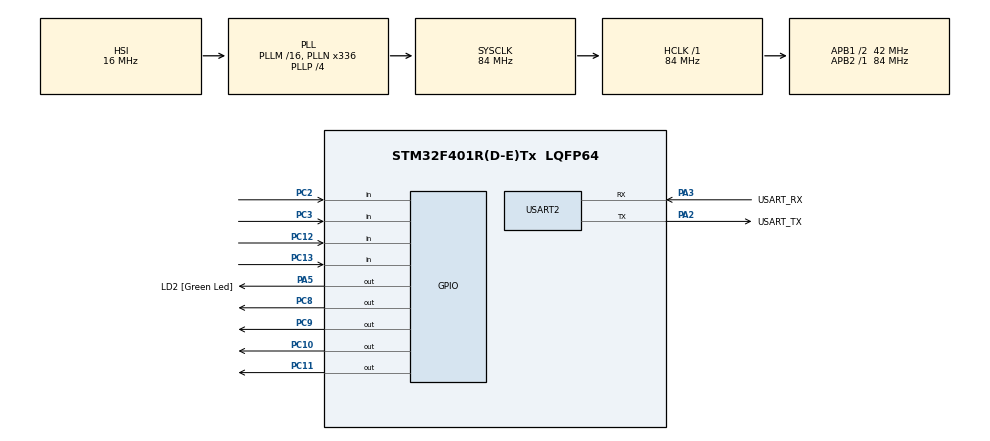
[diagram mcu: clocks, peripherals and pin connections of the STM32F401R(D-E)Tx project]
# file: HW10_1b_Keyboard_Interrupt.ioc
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Mcu.Family=STM32F4
Mcu.Name=STM32F401R(D-E)Tx
Mcu.Package=LQFP64
NVIC.PriorityGroup=NVIC_PRIORITYGROUP_0
NVIC.TIM2_IRQn=true\:0\:0\:false\:false\:true\:true\:true\:true
PA13.GPIO_Label=TMS
PA13.Mode=Serial_Wire
PA13.Signal=SYS_JTMS-SWDIO
PA14.GPIO_Label=TCK
PA14.Mode=Serial_Wire
PA14.Signal=SYS_JTCK-SWCLK
PA2.GPIO_Label=USART_TX
PA2.GPIO_Mode=GPIO_MODE_AF_PP
PA2.GPIO_PuPd=GPIO_NOPULL
PA2.GPIO_Speed=GPIO_SPEED_FREQ_LOW
PA2.Mode=Asynchronous
PA2.Signal=USART2_TX
PA3.GPIO_Label=USART_RX
PA3.GPIO_Mode=GPIO_MODE_AF_PP
PA3.GPIO_PuPd=GPIO_NOPULL
PA3.GPIO_Speed=GPIO_SPEED_FREQ_LOW
PA3.Mode=Asynchronous
PA3.Signal=USART2_RX
PA5.GPIO_Label=LD2 [Green Led]
PA5.GPIO_Mode=GPIO_MODE_OUTPUT_PP
PA5.GPIO_PuPd=GPIO_NOPULL
PA5.GPIO_Speed=GPIO_SPEED_FREQ_LOW
PA5.Signal=GPIO_Output
PB3.GPIO_Label=SWO
PB3.Signal=SYS_JTDO-SWO
PC10.Signal=GPIO_Output
PC11.Signal=GPIO_Output
PC12.Signal=GPIO_Input
PC13-ANTI_TAMP.Signal=GPIO_Input
PC14-OSC32_IN.Mode=LSE-External-Oscillator
PC14-OSC32_IN.Signal=RCC_OSC32_IN
PC15-OSC32_OUT.Mode=LSE-External-Oscillator
PC15-OSC32_OUT.Signal=RCC_OSC32_OUT
PC2.Signal=GPIO_Input
PC3.Signal=GPIO_Input
PC8.Signal=GPIO_Output
PC9.Signal=GPIO_Output
PH0\ -\ OSC_IN.Mode=HSE-External-Clock-Source
PH0\ -\ OSC_IN.Signal=RCC_OSC_IN
PH1\ -\ OSC_OUT.Mode=HSE-External-Clock-Source
PH1\ -\ OSC_OUT.Signal=RCC_OSC_OUT
ProjectManager.HeapSize=0x200
ProjectManager.StackSize=0x400
ProjectManager.TargetToolchain=STM32CubeIDE
RCC.48MHZClocksFreq_Value=48000000
RCC.AHBFreq_Value=84000000
RCC.APB1CLKDivider=RCC_HCLK_DIV2
RCC.APB1Freq_Value=42000000
RCC.APB1TimFreq_Value=84000000
RCC.APB2Freq_Value=84000000
RCC.APB2TimFreq_Value=84000000
RCC.CortexFreq_Value=84000000
RCC.HCLKFreq_Value=84000000
RCC.HSE_VALUE=8000000
RCC.HSI_VALUE=16000000
RCC.PLLN=336
RCC.PLLP=RCC_PLLP_DIV4
RCC.PLLQ=7
RCC.SYSCLKFreq_VALUE=84000000
RCC.SYSCLKSource=RCC_SYSCLKSOURCE_PLLCLK
RCC.VCOOutputFreq_Value=336000000
TIM2.Period=4000
TIM2.Prescaler=84-1
USART2.VirtualMode=VM_ASYNC
VP_TIM2_VS_ClockSourceINT.Mode=Internal
board=NUCLEO-F401RE

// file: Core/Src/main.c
/* USER CODE BEGIN Header */
/**
  ******************************************************************************
  * @file           : main.c
  * @brief          : Main program body
  ******************************************************************************
  * @attention
  *
  * Copyright (c) 2022 STMicroelectronics.
  * All rights reserved.
  *
  * This software is licensed under terms that can be found in the LICENSE file
  * in the root directory of this software component.
  * If no LICENSE file comes with this software, it is provided AS-IS.
  *
  ******************************************************************************
  */
/* USER CODE END Header */
#include "main.h"

/* USER CODE BEGIN PD */

#define DEBOUNCE_TIME 1

/* USER CODE END PD */

TIM_HandleTypeDef htim2;

UART_HandleTypeDef huart2;

void SystemClock_Config(void);
static void MX_GPIO_Init(void);
static void MX_USART2_UART_Init(void);
static void MX_TIM2_Init(void);

/* USER CODE BEGIN 0 */

//maps each key to his character
uint8_t keyboard_values[4][4] = {{0,1,2,3},{4,5,6,7},{8,9,10,11},{12,13,14,15}};

//Memorize all the used output pins: outputArray[0] = column0...
uint16_t outputArray[4] = {GPIO_PIN_8,GPIO_PIN_9,GPIO_PIN_10,GPIO_PIN_11};

//Memorize all used input pins: inputArray[0] = row0...
uint16_t inputArray[4] = {GPIO_PIN_12,GPIO_PIN_13,GPIO_PIN_2, GPIO_PIN_3};

uint32_t keypress[4][4];
uint32_t keypress_old[4][4];

//Memorize the debounce time for every button (1 by default)
uint16_t debounce_time[4][4];

int column;

//used for transmission
int len = 0;
char str[32];

//every 4 ms read a column
//if a new value is read and the debounce time has expired ( 4*4 ms in our case) send the character
void HAL_TIM_PeriodElapsedCallback(TIM_HandleTypeDef *htim){
	if(htim == &htim2){

		for(int row = 0; row < 4; row ++){
			if(debounce_time[row][column] == 0){
				//if the debounce time for this button has ended
				//read and store the state of the button: 1->pressed, 0-> not pressed
				if(HAL_GPIO_ReadPin(GPIOC, inputArray[row]) == SET)
					keypress[row][column] = 0;
				else
					keypress[row][column] = 1;

				//if the state of the button has changed from the previous one
				if(keypress[row][column] != keypress_old[row][column]){

					//if the button toggled from 0 to 1 then transmit the character
					if(keypress[row][column] == 1){
						  len = snprintf(str, sizeof(str), "Button pressed: %x \r\n", keyboard_values[row][column]);
						  HAL_UART_Transmit(&huart2, str, len, 50);
					}

					//update the old keypress
					keypress_old[row][column] = keypress[row][column];

					//reset debounce for the updated button
					debounce_time[row][column] = DEBOUNCE_TIME;
				}
			}
			else{
				//decrease debounce time
				debounce_time[row][column]--;
			}
		}

		//turn off the column
		HAL_GPIO_WritePin(GPIOC, outputArray[column],RESET);

		//update the column
		if(column == 3)
			column = 0;
		else
			column++;

		//turn on the new column
		HAL_GPIO_WritePin(GPIOC, outputArray[column],SET);
	}
}

/* USER CODE END 0 */

int main(void)
{

  /* MCU Configuration--------------------------------------------------------*/

  /* Reset of all peripherals, Initializes the Flash interface and the Systick. */
  HAL_Init();

  /* Configure the system clock */
  SystemClock_Config();

  /* Initialize all configured peripherals */
  MX_GPIO_Init();
  MX_USART2_UART_Init();
  MX_TIM2_Init();
  /* USER CODE BEGIN 2 */

  //turn on the first column and off the others
  HAL_GPIO_WritePin(GPIOC, outputArray[0], SET);
  HAL_GPIO_WritePin(GPIOC, outputArray[1], RESET);
  HAL_GPIO_WritePin(GPIOC, outputArray[2], RESET);
  HAL_GPIO_WritePin(GPIOC, outputArray[3], RESET);

  //start the timer
  HAL_TIM_Base_Start_IT(&htim2);

  /* USER CODE END 2 */

  /* Infinite loop */
  while (1)
  {

  }
}

void SystemClock_Config(void)
{
  RCC_OscInitTypeDef RCC_OscInitStruct = {0};
  RCC_ClkInitTypeDef RCC_ClkInitStruct = {0};

  /** Configure the main internal regulator output voltage
  */
  __HAL_RCC_PWR_CLK_ENABLE();
  __HAL_PWR_VOLTAGESCALING_CONFIG(PWR_REGULATOR_VOLTAGE_SCALE2);

  /** Initializes the RCC Oscillators according to the specified parameters
  * in the RCC_OscInitTypeDef structure.
  */
  RCC_OscInitStruct.OscillatorType = RCC_OSCILLATORTYPE_HSI;
  RCC_OscInitStruct.HSIState = RCC_HSI_ON;
  RCC_OscInitStruct.HSICalibrationValue = RCC_HSICALIBRATION_DEFAULT;
  RCC_OscInitStruct.PLL.PLLState = RCC_PLL_ON;
  RCC_OscInitStruct.PLL.PLLSource = RCC_PLLSOURCE_HSI;
  RCC_OscInitStruct.PLL.PLLM = 16;
  RCC_OscInitStruct.PLL.PLLN = 336;
  RCC_OscInitStruct.PLL.PLLP = RCC_PLLP_DIV4;
  RCC_OscInitStruct.PLL.PLLQ = 7;
  if (HAL_RCC_OscConfig(&RCC_OscInitStruct) != HAL_OK)
  {
    Error_Handler();
  }

  /** Initializes the CPU, AHB and APB buses clocks
  */
  RCC_ClkInitStruct.ClockType = RCC_CLOCKTYPE_HCLK|RCC_CLOCKTYPE_SYSCLK
                              |RCC_CLOCKTYPE_PCLK1|RCC_CLOCKTYPE_PCLK2;
  RCC_ClkInitStruct.SYSCLKSource = RCC_SYSCLKSOURCE_PLLCLK;
  RCC_ClkInitStruct.AHBCLKDivider = RCC_SYSCLK_DIV1;
  RCC_ClkInitStruct.APB1CLKDivider = RCC_HCLK_DIV2;
  RCC_ClkInitStruct.APB2CLKDivider = RCC_HCLK_DIV1;

  if (HAL_RCC_ClockConfig(&RCC_ClkInitStruct, FLASH_LATENCY_2) != HAL_OK)
  {
    Error_Handler();
  }
}

static void MX_TIM2_Init(void)
{

  TIM_ClockConfigTypeDef sClockSourceConfig = {0};
  TIM_MasterConfigTypeDef sMasterConfig = {0};

  htim2.Instance = TIM2;
  htim2.Init.Prescaler = 84-1;
  htim2.Init.CounterMode = TIM_COUNTERMODE_UP;
  htim2.Init.Period = 4000;
  htim2.Init.ClockDivision = TIM_CLOCKDIVISION_DIV1;
  htim2.Init.AutoReloadPreload = TIM_AUTORELOAD_PRELOAD_DISABLE;
  if (HAL_TIM_Base_Init(&htim2) != HAL_OK)
  {
    Error_Handler();
  }
  sClockSourceConfig.ClockSource = TIM_CLOCKSOURCE_INTERNAL;
  if (HAL_TIM_ConfigClockSource(&htim2, &sClockSourceConfig) != HAL_OK)
  {
    Error_Handler();
  }
  sMasterConfig.MasterOutputTrigger = TIM_TRGO_RESET;
  sMasterConfig.MasterSlaveMode = TIM_MASTERSLAVEMODE_DISABLE;
  if (HAL_TIMEx_MasterConfigSynchronization(&htim2, &sMasterConfig) != HAL_OK)
  {
    Error_Handler();
  }

}

static void MX_USART2_UART_Init(void)
{

  huart2.Instance = USART2;
  huart2.Init.BaudRate = 115200;
  huart2.Init.WordLength = UART_WORDLENGTH_8B;
  huart2.Init.StopBits = UART_STOPBITS_1;
  huart2.Init.Parity = UART_PARITY_NONE;
  huart2.Init.Mode = UART_MODE_TX_RX;
  huart2.Init.HwFlowCtl = UART_HWCONTROL_NONE;
  huart2.Init.OverSampling = UART_OVERSAMPLING_16;
  if (HAL_UART_Init(&huart2) != HAL_OK)
  {
    Error_Handler();
  }

}

static void MX_GPIO_Init(void)
{
  GPIO_InitTypeDef GPIO_InitStruct = {0};

  /* GPIO Ports Clock Enable */
  __HAL_RCC_GPIOC_CLK_ENABLE();
  __HAL_RCC_GPIOH_CLK_ENABLE();
  __HAL_RCC_GPIOA_CLK_ENABLE();
  __HAL_RCC_GPIOB_CLK_ENABLE();

  /*Configure GPIO pin Output Level */
  HAL_GPIO_WritePin(LD2_GPIO_Port, LD2_Pin, GPIO_PIN_RESET);

  /*Configure GPIO pin Output Level */
  HAL_GPIO_WritePin(GPIOC, GPIO_PIN_8|GPIO_PIN_9|GPIO_PIN_10|GPIO_PIN_11, GPIO_PIN_RESET);

  /*Configure GPIO pins : PC13 PC2 PC3 PC12 */
  GPIO_InitStruct.Pin = GPIO_PIN_13|GPIO_PIN_2|GPIO_PIN_3|GPIO_PIN_12;
  GPIO_InitStruct.Mode = GPIO_MODE_INPUT;
  GPIO_InitStruct.Pull = GPIO_NOPULL;
  HAL_GPIO_Init(GPIOC, &GPIO_InitStruct);

  /*Configure GPIO pin : LD2_Pin */
  GPIO_InitStruct.Pin = LD2_Pin;
  GPIO_InitStruct.Mode = GPIO_MODE_OUTPUT_PP;
  GPIO_InitStruct.Pull = GPIO_NOPULL;
  GPIO_InitStruct.Speed = GPIO_SPEED_FREQ_LOW;
  HAL_GPIO_Init(LD2_GPIO_Port, &GPIO_InitStruct);

  /*Configure GPIO pins : PC8 PC9 PC10 PC11 */
  GPIO_InitStruct.Pin = GPIO_PIN_8|GPIO_PIN_9|GPIO_PIN_10|GPIO_PIN_11;
  GPIO_InitStruct.Mode = GPIO_MODE_OUTPUT_PP;
  GPIO_InitStruct.Pull = GPIO_NOPULL;
  GPIO_InitStruct.Speed = GPIO_SPEED_FREQ_LOW;
  HAL_GPIO_Init(GPIOC, &GPIO_InitStruct);

}

void Error_Handler(void)
{
  __disable_irq();
  while (1)
  {
  }
}
